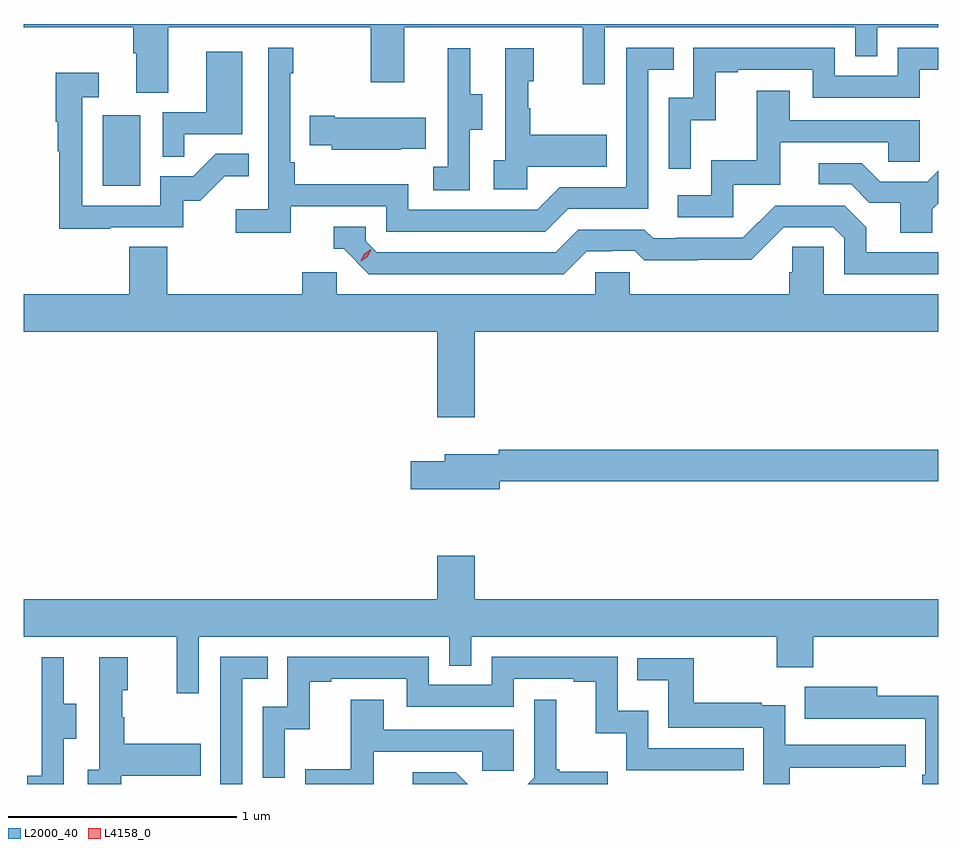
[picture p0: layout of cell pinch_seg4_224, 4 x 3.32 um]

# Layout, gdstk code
import gdstk
lib = gdstk.Library(unit=1e-6, precision=1e-09)
def R(c, l, rs):  # rectangles x0, y0, x1, y1
    for r in rs: c.add(gdstk.rectangle(r[:2], r[2:], *l))
def P(c, l, *ps):  # polygons
    for p in ps: c.add(gdstk.Polygon(p, *l))
L2000_40 = (2000, 40)
L4158_0 = (4158, 0)

pinch_seg4_224 = lib.new_cell('pinch_seg4_224')
R(pinch_seg4_224, L2000_40, [(1014.692,832.092,1014.856,832.399)])
P(pinch_seg4_224, L2000_40, [(1014.979,832.784),(1015.864,832.784),(1015.864,832.545),(1016.011,832.545),(1016.011,832.784),(1016.792,832.784),(1016.792,832.536),(1016.889,832.536),(1016.889,832.784),(1017.984,832.784),(1017.984,832.657),(1018.08,832.657),(1018.08,832.784),(1018.347,832.784),(1018.347,832.799),(1014.347,832.799),(1014.347,832.784),(1014.827,832.784),(1014.827,832.672),(1014.839,832.672),(1014.839,832.498),(1014.979,832.498)],
  [(1015.514,832.002),(1015.932,832.002),(1015.932,831.891),(1016.629,831.891),(1016.728,831.99),(1017.078,831.99),(1017.078,832.599),(1017.191,832.599),(1017.191,832.695),(1016.982,832.695),(1016.982,832.086),(1016.691,832.086),(1016.592,831.987),(1016.028,831.987),(1016.028,832.099),(1015.532,832.099),(1015.532,832.195),(1015.512,832.195),(1015.512,832.583),(1015.525,832.583),(1015.525,832.696),(1015.416,832.696),(1015.416,831.988),(1015.275,831.988),(1015.275,831.886),(1015.514,831.886)],
  [(1017.264,832.379),(1017.374,832.379),(1017.374,832.587),(1017.469,832.587),(1017.469,832.599),(1017.798,832.599),(1017.798,832.476),(1018.266,832.476),(1018.266,832.599),(1018.347,832.599),(1018.347,832.695),(1018.17,832.695),(1018.17,832.572),(1017.894,832.572),(1017.894,832.695),(1017.276,832.695),(1017.276,832.476),(1017.168,832.476),(1017.168,832.167),(1017.264,832.167)],
  [(1016.55,832.175),(1016.897,832.175),(1016.897,832.315),(1016.563,832.315),(1016.563,832.43),(1016.553,832.43),(1016.553,832.548),(1016.578,832.548),(1016.578,832.693),(1016.454,832.693),(1016.454,832.202),(1016.403,832.202),(1016.403,832.077),(1016.55,832.077)],
  [(1016.298,832.336),(1016.353,832.336),(1016.353,832.491),(1016.299,832.491),(1016.299,832.693),(1016.201,832.693),(1016.201,832.479),(1016.202,832.479),(1016.202,832.175),(1016.139,832.175),(1016.139,832.072),(1016.298,832.072)],
  [(1015.049,832.317),(1015.303,832.317),(1015.303,832.678),(1015.145,832.678),(1015.145,832.413),(1014.954,832.413),(1014.954,832.219),(1015.049,832.219)],
  [(1014.725,831.909),(1015.044,831.909),(1015.044,832.026),(1015.12,832.026),(1015.227,832.133),(1015.331,832.133),(1015.331,832.232),(1015.187,832.232),(1015.089,832.134),(1014.945,832.134),(1014.945,832.005),(1014.603,832.005),(1014.603,832.479),(1014.676,832.479),(1014.676,832.585),(1014.487,832.585),(1014.487,832.372),(1014.495,832.372),(1014.495,832.242),(1014.502,832.242),(1014.502,831.904),(1014.725,831.904)],
  [(1017.45,832.095),(1017.655,832.095),(1017.655,832.281),(1018.129,832.281),(1018.129,832.197),(1018.266,832.197),(1018.266,832.377),(1017.697,832.377),(1017.697,832.507),(1017.553,832.507),(1017.553,832.204),(1017.354,832.204),(1017.354,832.05),(1017.207,832.05),(1017.207,831.954),(1017.45,831.954)],
  [(1015.997,832.253),(1016.105,832.253),(1016.105,832.39),(1015.708,832.39),(1015.708,832.398),(1015.597,832.398),(1015.597,832.268),(1015.695,832.268),(1015.695,832.25),(1015.997,832.25)],
  [(1018.321,831.988),(1018.347,832.014),(1018.347,832.158),(1018.299,832.11),(1018.093,832.11),(1018.012,832.191),(1017.825,832.191),(1017.825,832.098),(1017.966,832.098),(1018.046,832.018),(1018.181,832.018),(1018.181,831.886),(1018.321,831.886)],
  [(1016.809,831.804),(1016.916,831.804),(1016.916,831.807),(1017.019,831.807),(1017.061,831.765),(1017.294,831.765),(1017.294,831.767),(1017.53,831.767),(1017.672,831.909),(1017.888,831.909),(1017.936,831.861),(1017.936,831.705),(1018.347,831.705),(1018.347,831.801),(1018.033,831.801),(1018.033,831.911),(1017.939,832.005),(1017.633,832.005),(1017.492,831.864),(1017.199,831.864),(1017.199,831.861),(1017.1,831.861),(1017.061,831.9),(1016.772,831.9),(1016.673,831.801),(1015.89,831.801),(1015.842,831.849),(1015.842,831.912),(1015.703,831.912),(1015.703,831.816),(1015.746,831.816),(1015.857,831.705),(1016.71,831.705)],
  [(1016.32,831.452),(1018.347,831.452),(1018.347,831.616),(1017.846,831.616),(1017.846,831.824),(1017.709,831.824),(1017.709,831.714),(1017.695,831.714),(1017.695,831.616),(1016.997,831.616),(1016.997,831.714),(1016.847,831.714),(1016.847,831.616),(1015.716,831.616),(1015.716,831.714),(1015.565,831.714),(1015.565,831.616),(1014.974,831.616),(1014.974,831.824),(1014.809,831.824),(1014.809,831.616),(1014.347,831.616),(1014.347,831.452),(1016.156,831.452),(1016.156,831.078),(1016.32,831.078)],
  [(1016.428,830.8),(1018.347,830.8),(1018.347,830.936),(1016.424,830.936),(1016.424,830.917),(1016.189,830.917),(1016.189,830.887),(1016.04,830.887),(1016.04,830.765),(1016.428,830.765)],
  [(1015.113,830.12),(1016.208,830.12),(1016.208,829.993),(1016.304,829.993),(1016.304,830.12),(1017.64,830.12),(1017.64,829.985),(1017.8,829.985),(1017.8,830.12),(1018.347,830.12),(1018.347,830.284),(1016.32,830.284),(1016.32,830.473),(1016.156,830.473),(1016.156,830.284),(1014.347,830.284),(1014.347,830.12),(1015.016,830.12),(1015.016,829.872),(1015.113,829.872)],
  [(1015.488,829.715),(1015.598,829.715),(1015.598,829.923),(1015.693,829.923),(1015.693,829.935),(1016.022,829.935),(1016.022,829.812),(1016.49,829.812),(1016.49,829.935),(1016.753,829.935),(1016.753,829.923),(1016.849,829.923),(1016.849,829.697),(1016.982,829.697),(1016.982,829.536),(1017.497,829.536),(1017.497,829.632),(1017.078,829.632),(1017.078,829.795),(1016.946,829.795),(1016.946,830.031),(1016.394,830.031),(1016.394,829.908),(1016.118,829.908),(1016.118,830.031),(1015.5,830.031),(1015.5,829.812),(1015.392,829.812),(1015.392,829.503),(1015.488,829.503)],
  [(1015.302,829.935),(1015.415,829.935),(1015.415,830.031),(1015.206,830.031),(1015.206,829.475),(1015.302,829.475)],
  [(1014.522,829.672),(1014.577,829.672),(1014.577,829.827),(1014.523,829.827),(1014.523,830.029),(1014.425,830.029),(1014.425,829.815),(1014.426,829.815),(1014.426,829.511),(1014.363,829.511),(1014.363,829.475),(1014.522,829.475)],
  [(1014.774,829.511),(1015.121,829.511),(1015.121,829.651),(1014.787,829.651),(1014.787,829.766),(1014.777,829.766),(1014.777,829.884),(1014.802,829.884),(1014.802,830.029),(1014.678,830.029),(1014.678,829.538),(1014.627,829.538),(1014.627,829.475),(1014.774,829.475)],
  [(1017.698,829.546),(1018.091,829.546),(1018.091,829.551),(1018.204,829.551),(1018.204,829.647),(1017.678,829.647),(1017.678,829.819),(1017.575,829.819),(1017.575,829.831),(1017.277,829.831),(1017.277,830.025),(1017.031,830.025),(1017.031,829.928),(1017.166,829.928),(1017.166,829.722),(1017.582,829.722),(1017.582,829.475),(1017.698,829.475)],
  [(1018.347,829.862),(1018.081,829.862),(1018.081,829.9),(1017.763,829.9),(1017.763,829.76),(1017.977,829.76),(1017.977,829.761),(1018.29,829.761),(1018.29,829.516),(1018.277,829.516),(1018.277,829.475),(1018.347,829.475)],
  [(1016.902,829.528),(1016.689,829.528),(1016.689,829.54),(1016.677,829.54),(1016.677,829.843),(1016.58,829.843),(1016.58,829.503),(1016.552,829.475),(1016.902,829.475)],
  [(1015.879,829.617),(1016.353,829.617),(1016.353,829.533),(1016.49,829.533),(1016.49,829.713),(1015.921,829.713),(1015.921,829.843),(1015.777,829.843),(1015.777,829.54),(1015.578,829.54),(1015.578,829.475),(1015.879,829.475)],
  [(1016.236,829.527),(1016.049,829.527),(1016.049,829.475),(1016.288,829.475)])
P(pinch_seg4_224, L4158_0, [(1015.821,831.761),(1015.821,831.761),(1015.837,831.794),(1015.867,831.814),(1015.868,831.814),(1015.868,831.814),(1015.852,831.781),(1015.821,831.761)])

lib.write_gds('pinch_seg4_224.gds')
